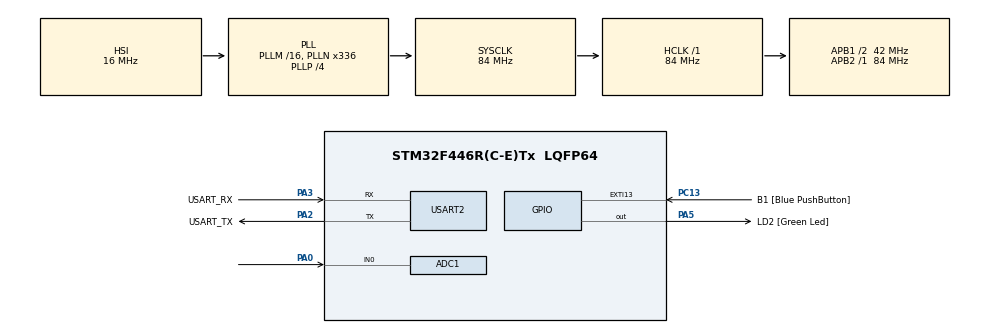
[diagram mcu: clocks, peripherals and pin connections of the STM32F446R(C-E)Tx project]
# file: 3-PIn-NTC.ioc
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ADC1.Channel-1\#ChannelRegularConversion=ADC_CHANNEL_0
ADC1.NbrOfConversionFlag=1
ADC1.Rank-1\#ChannelRegularConversion=1
ADC1.SamplingTime-1\#ChannelRegularConversion=ADC_SAMPLETIME_3CYCLES
ADC1.master=1
Mcu.Family=STM32F4
Mcu.Name=STM32F446R(C-E)Tx
Mcu.Package=LQFP64
NVIC.PriorityGroup=NVIC_PRIORITYGROUP_0
PA0-WKUP.Signal=ADCx_IN0
PA13.GPIO_Label=TMS
PA13.Mode=Serial_Wire
PA13.Signal=SYS_JTMS-SWDIO
PA14.GPIO_Label=TCK
PA14.Mode=Serial_Wire
PA14.Signal=SYS_JTCK-SWCLK
PA2.GPIO_Label=USART_TX
PA2.Mode=Asynchronous
PA2.Signal=USART2_TX
PA3.GPIO_Label=USART_RX
PA3.Mode=Asynchronous
PA3.Signal=USART2_RX
PA5.GPIO_Label=LD2 [Green Led]
PA5.Signal=GPIO_Output
PB3.GPIO_Label=SWO
PB3.Signal=SYS_JTDO-SWO
PC13.GPIO_Label=B1 [Blue PushButton]
PC13.GPIO_ModeDefaultEXTI=GPIO_MODE_IT_FALLING
PC13.Signal=GPXTI13
PC14-OSC32_IN.Mode=LSE-External-Oscillator
PC14-OSC32_IN.Signal=RCC_OSC32_IN
PC15-OSC32_OUT.Mode=LSE-External-Oscillator
PC15-OSC32_OUT.Signal=RCC_OSC32_OUT
PH0-OSC_IN.Mode=HSE-External-Oscillator
PH0-OSC_IN.Signal=RCC_OSC_IN
PH1-OSC_OUT.Mode=HSE-External-Oscillator
PH1-OSC_OUT.Signal=RCC_OSC_OUT
ProjectManager.HeapSize=0x200
ProjectManager.StackSize=0x400
ProjectManager.TargetToolchain=STM32CubeIDE
RCC.48MHZClocksFreq_Value=84000000
RCC.AHBFreq_Value=84000000
RCC.APB1CLKDivider=RCC_HCLK_DIV2
RCC.APB1Freq_Value=42000000
RCC.APB1TimFreq_Value=84000000
RCC.APB2Freq_Value=84000000
RCC.APB2TimFreq_Value=84000000
RCC.CortexFreq_Value=84000000
RCC.FLatency-AdvancedSettings=FLASH_LATENCY_2
RCC.HCLKFreq_Value=84000000
RCC.HSE_VALUE=8000000
RCC.HSI_VALUE=16000000
RCC.PLLN=336
RCC.PLLP=RCC_PLLP_DIV4
RCC.SYSCLKFreq_VALUE=84000000
RCC.SYSCLKSource=RCC_SYSCLKSOURCE_PLLCLK
RCC.USBFreq_Value=168000000
RCC.VCOOutputFreq_Value=336000000
SH.ADCx_IN0.0=ADC1_IN0,IN0
USART2.VirtualMode=VM_ASYNC
board=NUCLEO-F446RE

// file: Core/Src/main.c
/* USER CODE BEGIN Header */
/**
  ******************************************************************************
  * @file           : main.c
  * @brief          : Main program body
  ******************************************************************************
  * @attention
  *
  * Copyright (c) 2025 STMicroelectronics.
  * All rights reserved.
  *
  * This software is licensed under terms that can be found in the LICENSE file
  * in the root directory of this software component.
  * If no LICENSE file comes with this software, it is provided AS-IS.
  *
  ******************************************************************************
  */
/* USER CODE END Header */
#include "main.h"

/* USER CODE BEGIN Includes */
#include <stdio.h>
/* USER CODE END Includes */

/* USER CODE BEGIN PD */
#define VREF 3.3       // Reference voltage
#define R_FIXED 10000  // 10kΩ fixed resistor in voltage divider
#define BETA 3950      // Beta value (check datasheet)
#define T0 298.15      // Reference temperature (25°C in Kelvin)
#define R0 10000       // Resistance at 25°C (10kΩ)
/* USER CODE END PD */

/* USER CODE BEGIN PM */
char msg[50];
uint32_t adcValue;
float voltage, resistance, temperature;
/* USER CODE END PM */

ADC_HandleTypeDef hadc1;

UART_HandleTypeDef huart2;

void SystemClock_Config(void);
static void MX_GPIO_Init(void);
static void MX_USART2_UART_Init(void);
static void MX_ADC1_Init(void);

int main(void)
{

  /* MCU Configuration--------------------------------------------------------*/

  /* Reset of all peripherals, Initializes the Flash interface and the Systick. */
  HAL_Init();

  /* Configure the system clock */
  SystemClock_Config();

  /* Initialize all configured peripherals */
  MX_GPIO_Init();
  MX_USART2_UART_Init();
  MX_ADC1_Init();

  /* Infinite loop */
  /* USER CODE BEGIN WHILE */
  while (1)
  {
	    HAL_ADC_Start(&hadc1);
	    HAL_ADC_PollForConversion(&hadc1, HAL_MAX_DELAY);
	    adcValue = HAL_ADC_GetValue(&hadc1);

	    // Convert ADC to voltage
	    voltage = (adcValue * VREF) / 4095.0;

	    // Calculate thermistor resistance
	    resistance = (R_FIXED * (VREF - voltage)) / voltage;

	    // Steinhart–Hart (simplified Beta formula)
	    temperature = (1.0 / ((log(resistance / R0) / BETA) + (1.0 / T0))) - 273.15;

	    printf("ADC: %lu, Temp: %.2f C\r\n", adcValue, temperature);

	    HAL_Delay(1000);
    /* USER CODE END WHILE */

  }
}

void SystemClock_Config(void)
{
  RCC_OscInitTypeDef RCC_OscInitStruct = {0};
  RCC_ClkInitTypeDef RCC_ClkInitStruct = {0};

  /** Configure the main internal regulator output voltage
  */
  __HAL_RCC_PWR_CLK_ENABLE();
  __HAL_PWR_VOLTAGESCALING_CONFIG(PWR_REGULATOR_VOLTAGE_SCALE3);

  /** Initializes the RCC Oscillators according to the specified parameters
  * in the RCC_OscInitTypeDef structure.
  */
  RCC_OscInitStruct.OscillatorType = RCC_OSCILLATORTYPE_HSI;
  RCC_OscInitStruct.HSIState = RCC_HSI_ON;
  RCC_OscInitStruct.HSICalibrationValue = RCC_HSICALIBRATION_DEFAULT;
  RCC_OscInitStruct.PLL.PLLState = RCC_PLL_ON;
  RCC_OscInitStruct.PLL.PLLSource = RCC_PLLSOURCE_HSI;
  RCC_OscInitStruct.PLL.PLLM = 16;
  RCC_OscInitStruct.PLL.PLLN = 336;
  RCC_OscInitStruct.PLL.PLLP = RCC_PLLP_DIV4;
  RCC_OscInitStruct.PLL.PLLQ = 2;
  RCC_OscInitStruct.PLL.PLLR = 2;
  if (HAL_RCC_OscConfig(&RCC_OscInitStruct) != HAL_OK)
  {
    Error_Handler();
  }

  /** Initializes the CPU, AHB and APB buses clocks
  */
  RCC_ClkInitStruct.ClockType = RCC_CLOCKTYPE_HCLK|RCC_CLOCKTYPE_SYSCLK
                              |RCC_CLOCKTYPE_PCLK1|RCC_CLOCKTYPE_PCLK2;
  RCC_ClkInitStruct.SYSCLKSource = RCC_SYSCLKSOURCE_PLLCLK;
  RCC_ClkInitStruct.AHBCLKDivider = RCC_SYSCLK_DIV1;
  RCC_ClkInitStruct.APB1CLKDivider = RCC_HCLK_DIV2;
  RCC_ClkInitStruct.APB2CLKDivider = RCC_HCLK_DIV1;

  if (HAL_RCC_ClockConfig(&RCC_ClkInitStruct, FLASH_LATENCY_2) != HAL_OK)
  {
    Error_Handler();
  }
}

static void MX_ADC1_Init(void)
{

  ADC_ChannelConfTypeDef sConfig = {0};

  /** Configure the global features of the ADC (Clock, Resolution, Data Alignment and number of conversion)
  */
  hadc1.Instance = ADC1;
  hadc1.Init.ClockPrescaler = ADC_CLOCK_SYNC_PCLK_DIV4;
  hadc1.Init.Resolution = ADC_RESOLUTION_12B;
  hadc1.Init.ScanConvMode = DISABLE;
  hadc1.Init.ContinuousConvMode = ENABLE;
  hadc1.Init.DiscontinuousConvMode = DISABLE;
  hadc1.Init.ExternalTrigConvEdge = ADC_EXTERNALTRIGCONVEDGE_NONE;
  hadc1.Init.ExternalTrigConv = ADC_SOFTWARE_START;
  hadc1.Init.DataAlign = ADC_DATAALIGN_RIGHT;
  hadc1.Init.NbrOfConversion = 1;
  hadc1.Init.DMAContinuousRequests = DISABLE;
  hadc1.Init.EOCSelection = ADC_EOC_SINGLE_CONV;
  if (HAL_ADC_Init(&hadc1) != HAL_OK)
  {
    Error_Handler();
  }

  /** Configure for the selected ADC regular channel its corresponding rank in the sequencer and its sample time.
  */
  sConfig.Channel = ADC_CHANNEL_0;
  sConfig.Rank = 1;
  sConfig.SamplingTime = ADC_SAMPLETIME_3CYCLES;
  if (HAL_ADC_ConfigChannel(&hadc1, &sConfig) != HAL_OK)
  {
    Error_Handler();
  }

}

static void MX_USART2_UART_Init(void)
{

  huart2.Instance = USART2;
  huart2.Init.BaudRate = 115200;
  huart2.Init.WordLength = UART_WORDLENGTH_8B;
  huart2.Init.StopBits = UART_STOPBITS_1;
  huart2.Init.Parity = UART_PARITY_NONE;
  huart2.Init.Mode = UART_MODE_TX_RX;
  huart2.Init.HwFlowCtl = UART_HWCONTROL_NONE;
  huart2.Init.OverSampling = UART_OVERSAMPLING_16;
  if (HAL_UART_Init(&huart2) != HAL_OK)
  {
    Error_Handler();
  }

}

static void MX_GPIO_Init(void)
{
  GPIO_InitTypeDef GPIO_InitStruct = {0};

  /* GPIO Ports Clock Enable */
  __HAL_RCC_GPIOC_CLK_ENABLE();
  __HAL_RCC_GPIOH_CLK_ENABLE();
  __HAL_RCC_GPIOA_CLK_ENABLE();
  __HAL_RCC_GPIOB_CLK_ENABLE();

  /*Configure GPIO pin Output Level */
  HAL_GPIO_WritePin(LD2_GPIO_Port, LD2_Pin, GPIO_PIN_RESET);

  /*Configure GPIO pin : B1_Pin */
  GPIO_InitStruct.Pin = B1_Pin;
  GPIO_InitStruct.Mode = GPIO_MODE_IT_FALLING;
  GPIO_InitStruct.Pull = GPIO_NOPULL;
  HAL_GPIO_Init(B1_GPIO_Port, &GPIO_InitStruct);

  /*Configure GPIO pin : LD2_Pin */
  GPIO_InitStruct.Pin = LD2_Pin;
  GPIO_InitStruct.Mode = GPIO_MODE_OUTPUT_PP;
  GPIO_InitStruct.Pull = GPIO_NOPULL;
  GPIO_InitStruct.Speed = GPIO_SPEED_FREQ_LOW;
  HAL_GPIO_Init(LD2_GPIO_Port, &GPIO_InitStruct);

}

/* USER CODE BEGIN 4 */
int _write(int file, char *ptr, int len)
{
(void)file;
int DataIdx;

for (DataIdx = 0; DataIdx < len; DataIdx++)
{
  ITM_SendChar(*ptr++);
}
return len;
}
/* USER CODE END 4 */

void Error_Handler(void)
{
  __disable_irq();
  while (1)
  {
  }
}
